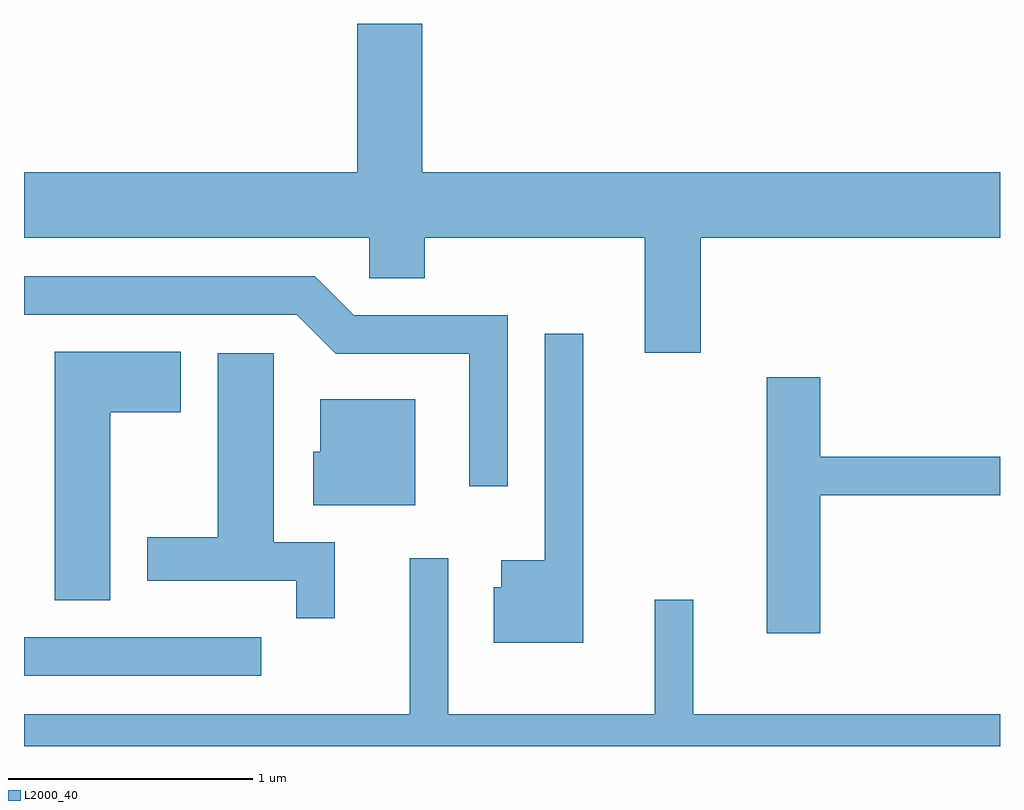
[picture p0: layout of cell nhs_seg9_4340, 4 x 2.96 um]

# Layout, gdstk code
import gdstk
lib = gdstk.Library(unit=1e-6, precision=1e-09)
def R(c, l, rs):  # rectangles x0, y0, x1, y1
    for r in rs: c.add(gdstk.rectangle(r[:2], r[2:], *l))
def P(c, l, *ps):  # polygons
    for p in ps: c.add(gdstk.Polygon(p, *l))
L2000_40 = (2000, 40)

nhs_seg9_4340 = lib.new_cell('nhs_seg9_4340')
R(nhs_seg9_4340, L2000_40, [(313.611,1956.721,314.583,1956.879)])
P(nhs_seg9_4340, L2000_40, [(316.384,1958.516),(317.611,1958.516),(317.611,1958.784),(315.244,1958.784),(315.244,1959.394),(314.976,1959.394),(314.976,1958.784),(313.611,1958.784),(313.611,1958.516),(315.026,1958.516),(315.026,1958.351),(315.254,1958.351),(315.254,1958.516),(316.156,1958.516),(316.156,1958.046),(316.384,1958.046)],
  [(315.594,1958.199),(314.962,1958.199),(314.802,1958.359),(313.611,1958.359),(313.611,1958.201),(314.729,1958.201),(314.889,1958.041),(315.436,1958.041),(315.436,1957.498),(315.594,1957.498)],
  [(315.904,1958.123),(315.746,1958.123),(315.746,1957.194),(315.566,1957.194),(315.566,1957.084),(315.536,1957.084),(315.536,1956.856),(315.904,1956.856)],
  [(313.964,1957.801),(314.254,1957.801),(314.254,1958.049),(313.736,1958.049),(313.736,1957.031),(313.964,1957.031)],
  [(314.884,1957.269),(314.634,1957.269),(314.634,1958.044),(314.406,1958.044),(314.406,1957.289),(314.116,1957.289),(314.116,1957.111),(314.726,1957.111),(314.726,1956.958),(314.884,1956.958)],
  [(316.874,1957.461),(317.611,1957.461),(317.611,1957.619),(316.874,1957.619),(316.874,1957.944),(316.656,1957.944),(316.656,1956.896),(316.874,1956.896)],
  [(315.214,1957.854),(314.826,1957.854),(314.826,1957.639),(314.796,1957.639),(314.796,1957.421),(315.214,1957.421)],
  [(315.191,1956.564),(313.611,1956.564),(313.611,1956.432),(317.611,1956.432),(317.611,1956.564),(316.354,1956.564),(316.354,1957.033),(316.196,1957.033),(316.196,1956.564),(315.349,1956.564),(315.349,1957.203),(315.191,1957.203)])

lib.write_gds('nhs_seg9_4340.gds')
